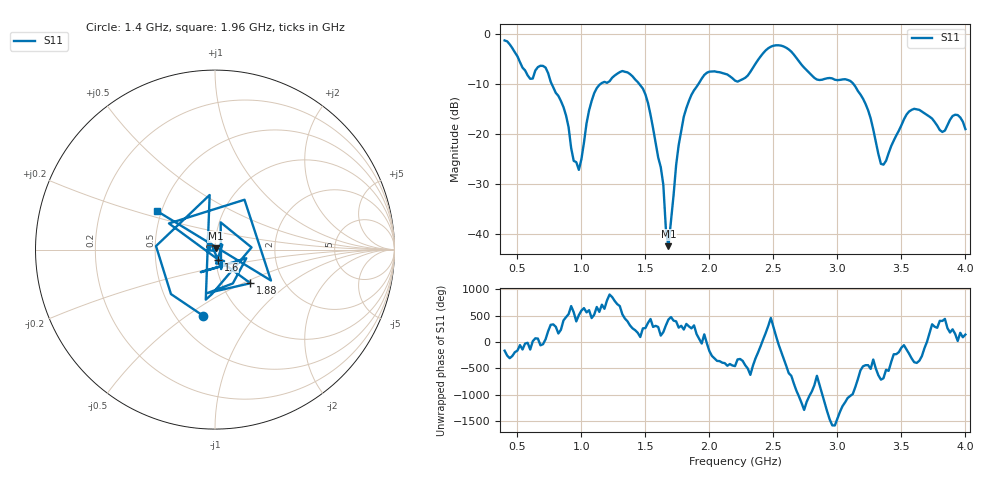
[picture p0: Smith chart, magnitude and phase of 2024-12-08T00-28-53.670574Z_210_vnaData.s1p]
!Created with skrf (http://scikit-rf.org).
# Hz S RI R 50.0
!freq ReS11 ImS11
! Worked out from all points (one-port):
!   181 points, 400 MHz to 4 GHz, reference 50 ohm
!   lowest |S11| = -42.4 dB at 1.68 GHz (marker M1), VSWR 1.02, Z = 50.3 + j0.709 ohm
!   |S11| at or under -10 dB: 767.4 MHz to 1.152 GHz (384.3 MHz wide, 40 % of centre); 1.451 GHz to 1.915 GHz (464.5 MHz wide, 27.6 % of centre); 3.124 GHz to end of sweep
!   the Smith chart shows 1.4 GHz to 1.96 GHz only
!   S11 on the Smith chart (normalised r, x): 1.4 GHz: 0.68, -0.58; 1.6 GHz: 1.03, -0.11; 1.88 GHz: 1.36, -0.55; 1.96 GHz: 0.47, +0.24
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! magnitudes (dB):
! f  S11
! 400 MHz  -1.4
! 600 MHz  -9.0
! 720 MHz  -6.8
! 860 MHz  -14.7
! 940 MHz  -25.4
! 980 MHz  -27.2
! 1.1 GHz  -11.9
! 1.3 GHz  -7.7
! 1.4 GHz  -8.5
! 1.5 GHz  -12.1
! 1.6 GHz  -24.7
! 1.64 GHz  -30.1
! 1.66 GHz  -39.0
! 1.68 GHz  -42.4
! 1.76 GHz  -22.2
! 1.88 GHz  -11.3
! 1.96 GHz  -8.2
! 2.2 GHz  -9.4
! 2.48 GHz  -2.6
! 2.66 GHz  -4.2
! 2.84 GHz  -9.2
! 3.1 GHz  -9.4
! 3.24 GHz  -15.3
! 3.34 GHz  -26.0
! 3.56 GHz  -15.5
! 3.82 GHz  -19.6
! 3.94 GHz  -16.2
! 4 GHz  -19.0
